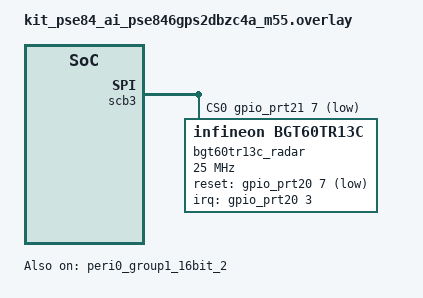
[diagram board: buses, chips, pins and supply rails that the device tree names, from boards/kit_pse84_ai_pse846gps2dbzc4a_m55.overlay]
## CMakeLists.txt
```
cmake_minimum_required(VERSION 3.20.0)

set(ZEPHYR_EXTRA_MODULES "${CMAKE_CURRENT_SOURCE_DIR}/../../modules/bgt60tr13c")
find_package(Zephyr REQUIRED HINTS $ENV{ZEPHYR_BASE})
project(pse84_ai_m55_udp_radar)

target_sources(app PRIVATE
    src/main.c
    src/scb3_clock_fix.c
    src/wifi_connect.c
)
```

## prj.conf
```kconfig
CONFIG_BGT60TR13C=y
CONFIG_SPI=y
CONFIG_GPIO=y
CONFIG_LOG=y
CONFIG_LOG_DEFAULT_LEVEL=3
# Room for ~10 back-to-back frame lines at the frame cadence without drops.
CONFIG_LOG_BUFFER_SIZE=4096

# Networking stack
CONFIG_NETWORKING=y
CONFIG_NET_IPV4=y
CONFIG_NET_IPV6=n
CONFIG_NET_UDP=y
CONFIG_NET_TCP=n
CONFIG_NET_DHCPV4=y
CONFIG_NET_SOCKETS=y

CONFIG_NET_PKT_RX_COUNT=10
CONFIG_NET_PKT_TX_COUNT=10
CONFIG_NET_BUF_RX_COUNT=20
CONFIG_NET_BUF_TX_COUNT=20
CONFIG_NET_MAX_CONTEXTS=10

CONFIG_MAIN_STACK_SIZE=4096
CONFIG_NET_TX_STACK_SIZE=1536
CONFIG_NET_RX_STACK_SIZE=1536

# Stack sizes for threads that drive Wi-Fi connect / DHCP.
# net_mgmt(NET_REQUEST_WIFI_CONNECT, ...) runs synchronously through the
# WHD stack and overflows the default 1 KB system-workqueue stack.
# Matches the board.conf that app 08 uses on M55.
CONFIG_SYSTEM_WORKQUEUE_STACK_SIZE=4096
CONFIG_NET_MGMT_EVENT_STACK_SIZE=4608
CONFIG_NET_TCP_WORKQ_STACK_SIZE=2048

# Net management events (needed for connect / dhcp callbacks)
CONFIG_NET_MGMT=y
CONFIG_NET_MGMT_EVENT=y
CONFIG_NET_MGMT_EVENT_INFO=y
CONFIG_NET_MGMT_EVENT_QUEUE_TIMEOUT=5000
CONFIG_NET_MGMT_EVENT_QUEUE_SIZE=16

# Wi-Fi (headless, no shell)
CONFIG_WIFI=y

# Random number generator (required by networking)
CONFIG_TEST_RANDOM_GENERATOR=y

# Heap for WHD / AIROC driver allocations - matches app 08
CONFIG_HEAP_MEM_POOL_SIZE=20480

# Silence noisy SPI/GPIO/clock debug logs
CONFIG_SPI_LOG_LEVEL_WRN=y
CONFIG_GPIO_LOG_LEVEL_WRN=y

# Clock control
CONFIG_CLOCK_CONTROL=y
CONFIG_CLOCK_CONTROL_LOG_LEVEL_WRN=y

# Ensure SPI init priority is correct
CONFIG_SPI_INIT_PRIORITY=70
```

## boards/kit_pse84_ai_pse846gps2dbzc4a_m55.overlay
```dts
/*
 * kit_pse84_ai board overlay for the CM55 radar streamer.
 *
 * Wires SCB3 (SPI master) to the BGT60TR13C on the shield header.
 * Pins match the CM33 variant (app 09) - SoC hardware is single-instance
 * and the M55 board DTS already enables gpio_prt21 for the SDHC block,
 * so we only need to enable gpio_prt20 here.
 *
 * References:
 *  - kit_pse84_ai_m55.dts (base):
 *      /home/ubuntu/zephyrproject/zephyr/boards/infineon/kit_pse84_ai/
 *      kit_pse84_ai_m55.dts
 *  - pse84.cm55.dtsi (per-core interrupt indices for SCB3, gpio_prt20/21):
 *      /home/ubuntu/zephyrproject/zephyr/dts/arm/infineon/edge/pse84/
 *      pse84.cm55.dtsi
 *  - infineon,spi binding:
 *      https://docs.zephyrproject.org/latest/build/dts/api/bindings/spi/
 *      infineon,spi.html
 */

/{
        aliases {
                radar-sensor = &bgt60tr13c_radar;
        };
};


spi3: &scb3 {
        compatible = "infineon,spi";
        status = "okay";
        #address-cells = <1>;
        #size-cells = <0>;

        clocks = <&peri0_group1_16bit_2>;

        pinctrl-0 = <&p21_6_scb3_spi_m_clk &p21_4_scb3_spi_m_miso &p21_5_scb3_spi_m_mosi>;
        pinctrl-names = "default";
        cs-gpios = <&gpio_prt21 7 GPIO_ACTIVE_LOW>;

        bgt60tr13c_radar: bgt60tr13c@0 {
                compatible = "infineon,bgt60tr13c";
                reg = <0>;
                spi-max-frequency = <25000000>;
                /* Datasheet-safe inter-word gap; SPI-default is
                 * half-of-SCK (~20 ns @ 25 MHz) which is under the
                 * chip's tSSCK setup requirement.
                 */
                spi-interframe-delay-ns = <200>;
                reset-gpios = <&gpio_prt20 7 GPIO_ACTIVE_LOW>;
                irq-gpios = <&gpio_prt20 3 GPIO_ACTIVE_HIGH>;
        };
};

&peri0_group1_16bit_2 {
        status = "okay";
        clock-div = <1>;
};

&p21_6_scb3_spi_m_clk {
        drive-strength = "full";
        drive-push-pull;
};

&p21_4_scb3_spi_m_miso {
        drive-strength = "full";
        input-enable;
};

&p21_5_scb3_spi_m_mosi {
        drive-strength = "full";
        drive-push-pull;
};

&p21_7_scb3_spi_m_select1 {
        drive-push-pull;
};

/* gpio_prt21 is enabled by the base M55 board DTS (SDHC block).
 * gpio_prt20 is not enabled by default - reset + IRQ pins need it.
 */
&gpio_prt20 {
        status = "okay";
};
```

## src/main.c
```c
/*
 * PSE84 CM55 UDP Radar Streamer - Phase 3.
 *
 * Single-thread pattern:
 *   wait_fifo_ready (blocks on GPIO IRQ semaphore)
 *   get_fifo_data   (SPI burst read + 12-bit unpack)
 *   build 272 B packet: 16 B header ('BGTR' | seq | timestamp_ns)
 *                       + 256 B samples (128 x u16 LE)
 *   zsock_send(sock, buf, 272, MSG_DONTWAIT)
 *
 * If the Wi-Fi link is down or the TX stack is congested, sendto
 * returns -EAGAIN / -ENOTCONN.  We increment a drop counter and keep
 * running - the radar loop never stalls on the network.
 */

#include <errno.h>
#include <string.h>

#include <zephyr/kernel.h>
#include <zephyr/logging/log.h>
#include <zephyr/net/socket.h>
#include <zephyr/sys/byteorder.h>

#include "bgt60tr13c.h"
#include "radar_config.h"
#include "wifi_connect.h"

LOG_MODULE_REGISTER(main, LOG_LEVEL_INF);

static const struct device *radar_sensor =
    DEVICE_DT_GET(DT_ALIAS(radar_sensor));

#define NUM_SAMPLES RADAR_NUM_SAMPLES_PER_FRAME	       /* 128 */
#define SAMPLES_BYTES (NUM_SAMPLES * sizeof(uint16_t)) /* 256 */
#define PACKET_HDR_BYTES 16
#define PACKET_BYTES (PACKET_HDR_BYTES + SAMPLES_BYTES) /* 272 */

/* Frame IRQ wait budget: chirp cadence is 5 ms; 50 ms tolerates ~10x slack. */
#define FIFO_IRQ_TIMEOUT K_MSEC(50)
#define WIFI_UP_TIMEOUT K_SECONDS(30)

/* Wire-format magic 'BGTR' little-endian.  Host script tests
 * packet[0..3] == "BGTR" to distinguish from other UDP flows.
 */
#define PACKET_MAGIC 0x52544742U /* 'R','T','G','B' in LE memory order */

/* Log a running summary every N frames (5 ms cadence -> ~5 s per 1000). */
#define SUMMARY_EVERY_N_FRAMES 1000U

static uint16_t samples[NUM_SAMPLES];
static uint8_t packet[PACKET_BYTES];

/**
 * Fill @p packet in place with the radar-stream wire format.
 * Header layout matches the parent implementation plan (item 7).
 */
static void build_packet(uint32_t seq, uint64_t timestamp_ns,
			 const uint16_t *buf, uint32_t count)
{
	sys_put_le32(PACKET_MAGIC, &packet[0]);
	sys_put_le32(seq, &packet[4]);
	sys_put_le64(timestamp_ns, &packet[8]);

	/* Samples: little-endian on the wire regardless of host word order. */
	for (uint32_t i = 0; i < count; i++) {
		sys_put_le16(buf[i], &packet[PACKET_HDR_BYTES + i * 2]);
	}
}

/**
 * Open one UDP socket connected to the destination.  Returns socket fd
 * on success, negative errno on failure.
 */
static int udp_socket_open(void)
{
	int sock = zsock_socket(AF_INET, SOCK_DGRAM, IPPROTO_UDP);

	if (sock < 0) {
		LOG_ERR("socket() failed: %d", errno);
		return -errno;
	}

	struct sockaddr_in dest = {
	    .sin_family = AF_INET,
	    .sin_port = htons(UDP_SERVER_PORT),
	};

	if (zsock_inet_pton(AF_INET, UDP_SERVER_IP, &dest.sin_addr) != 1) {
		LOG_ERR("Invalid UDP_SERVER_IP '%s'", UDP_SERVER_IP);
		zsock_close(sock);
		return -EINVAL;
	}

	/* connect() a UDP socket so subsequent send() can skip the address. */
	if (zsock_connect(sock, (struct sockaddr *)&dest, sizeof(dest)) < 0) {
		LOG_ERR("connect() failed: %d", errno);
		zsock_close(sock);
		return -errno;
	}

	LOG_INF("UDP socket -> %s:%u", UDP_SERVER_IP, UDP_SERVER_PORT);
	return sock;
}

int main(void)
{
	LOG_INF("Hello from project 10_pse84_ai_m55_udp_radar on board %s",
		CONFIG_BOARD_TARGET);

	if (!device_is_ready(radar_sensor)) {
		LOG_ERR("RADAR sensor device is not ready");
		return -ENODEV;
	}
	LOG_INF("Radar sensor ready (CHIP_ID verified during init)");

	int ret = wifi_connect_start();

	if (ret < 0) {
		LOG_ERR("wifi_connect_start failed: %d", ret);
		return ret;
	}

	if (wifi_connect_wait_up(WIFI_UP_TIMEOUT) < 0) {
		LOG_WRN("Wi-Fi not yet up after timeout - continuing (frames "
			"drop until reconnect succeeds in background)");
	}

	int sock = udp_socket_open();

	if (sock < 0) {
		return sock;
	}

	const struct bgt60tr13c_api *api = radar_sensor->api;

	LOG_INF("Configuring sensor (%u registers)...",
		(unsigned int)RADAR_REGS_LEN);
	ret = api->config(radar_sensor, radar_regs, RADAR_REGS_LEN);
	if (ret < 0) {
		LOG_ERR("config failed: %d", ret);
		return ret;
	}

	ret = api->set_fifo_limit(radar_sensor, NUM_SAMPLES);
	if (ret < 0) {
		LOG_ERR("set_fifo_limit failed: %d", ret);
		return ret;
	}

	ret = api->start_frame(radar_sensor, true);
	if (ret < 0) {
		LOG_ERR("start_frame failed: %d", ret);
		return ret;
	}
	LOG_INF("Streaming started - %u B packets to %s:%u", PACKET_BYTES,
		UDP_SERVER_IP, UDP_SERVER_PORT);

	uint32_t seq = 0;
	uint32_t sent_ok = 0;
	uint32_t dropped = 0;

	for (;;) {
		ret = api->wait_fifo_ready(radar_sensor, FIFO_IRQ_TIMEOUT);
		if (ret < 0) {
			LOG_ERR("wait_fifo_ready failed: %d", ret);
			break;
		}

		ret = api->get_fifo_data(radar_sensor, samples, NUM_SAMPLES);
		if (ret < 0) {
			LOG_ERR("get_fifo_data failed: %d", ret);
			break;
		}

		build_packet(seq, k_uptime_get() * 1000000ULL, samples,
			     NUM_SAMPLES);

		ret =
		    zsock_send(sock, packet, PACKET_BYTES, ZSOCK_MSG_DONTWAIT);
		if (ret == PACKET_BYTES) {
			sent_ok++;
		} else {
			dropped++;
		}

		if ((seq + 1U) % SUMMARY_EVERY_N_FRAMES == 0U) {
			LOG_INF("seq=%u sent=%u dropped=%u link=%s", seq + 1U,
				sent_ok, dropped,
				wifi_connect_is_up() ? "up" : "DOWN");
		}

		seq++;
	}

	api->start_frame(radar_sensor, false);
	zsock_close(sock);
	LOG_INF("Streaming stopped: seq=%u sent=%u dropped=%u", seq, sent_ok,
		dropped);
	return ret;
}
```

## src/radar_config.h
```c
/*
 * BGT60TR13C register configuration for this application.
 *
 * Generated by bgt60-configurator-cli (SDK v3.6.4) from:
 *   {
 *     "device_config": {
 *       "fmcw_single_shape": {
 *         "rx_antennas": [1],
 *         "tx_antennas": [1],
 *         "tx_power_level": 31,
 *         "if_gain_dB": 60,
 *         "lower_frequency_Hz": 61020098000,
 *         "upper_frequency_Hz": 61479902000,
 *         "num_chirps_per_frame": 1,
 *         "num_samples_per_chirp": 128,
 *         "chirp_repetition_time_s": 7e-05,
 *         "frame_repetition_time_s": 5e-3,
 *         "sample_rate_Hz": 2330000
 *       }
 *     }
 *   }
 *
 * Each entry is a packed SPI write command:
 *   [31:25] register address, [24] write bit, [23:0] data
 *
 * The array is application-owned and passed to the driver via
 * api->config().  Different applications may generate different
 * arrays from different configurator JSON inputs.
 */

#ifndef APP_RADAR_CONFIG_H_
#define APP_RADAR_CONFIG_H_

#include <stdint.h>
#include <zephyr/sys/util.h>

static const uint32_t radar_regs[] = {
    0x011e8270UL, 0x03088210UL, 0x09e967fdUL, 0x0b0805b4UL, 0x0d1027ffUL,
    0x0f010700UL, 0x11000000UL, 0x13000000UL, 0x15000000UL, 0x17000be0UL,
    0x19000000UL, 0x1b000000UL, 0x1d000000UL, 0x1f000b60UL, 0x21103c51UL,
    0x231ff41fUL, 0x25006f7bUL, 0x2d000490UL, 0x3b000480UL, 0x49000480UL,
    0x57000480UL, 0x5911be0eUL, 0x5b44c40aUL, 0x5d000000UL, 0x5f787e1eUL,
    0x61f5208aUL, 0x630000a4UL, 0x65000252UL, 0x67000080UL, 0x69000000UL,
    0x6b000000UL, 0x6d000000UL, 0x6f093910UL, 0x7f000100UL, 0x8f000100UL,
    0x9f000100UL, 0xad000000UL, 0xb7000000UL,
};

#define RADAR_REGS_LEN ARRAY_SIZE(radar_regs)

/* 1 RX antenna x 1 chirp x 128 samples = 128 per frame. */
#define RADAR_NUM_SAMPLES_PER_FRAME 128

#endif /* APP_RADAR_CONFIG_H_ */
```

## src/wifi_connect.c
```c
#include "wifi_connect.h"
#include "wifi_credentials.h"

#include <zephyr/kernel.h>
#include <zephyr/net/net_if.h>
#include <zephyr/net/net_mgmt.h>
#include <zephyr/net/wifi.h>
#include <zephyr/net/wifi_mgmt.h>
#include <zephyr/logging/log.h>

LOG_MODULE_REGISTER(wifi_conn, LOG_LEVEL_INF);

#define WIFI_EVENTS                                                            \
	(NET_EVENT_WIFI_CONNECT_RESULT | NET_EVENT_WIFI_DISCONNECT_RESULT)
#define IPV4_EVENTS (NET_EVENT_IPV4_ADDR_ADD | NET_EVENT_IPV4_ADDR_DEL)

#define RECONNECT_INITIAL_MS 5000U
#define RECONNECT_MAX_MS 30000U

static struct k_sem link_up_sem;
static struct net_mgmt_event_callback wifi_cb;
static struct net_mgmt_event_callback ipv4_cb;
static atomic_t link_up = ATOMIC_INIT(0);

static uint32_t backoff_ms = RECONNECT_INITIAL_MS;

static void connect_work_fn(struct k_work *work);
static K_WORK_DELAYABLE_DEFINE(connect_work, connect_work_fn);

static struct net_if *get_wifi_iface(void)
{
	/* net_if_get_first_wifi() only exists since Zephyr v3.6+; if it
	 * disappears from your tree fall back to net_if_get_default().
	 */
	struct net_if *iface = net_if_get_first_wifi();

	return iface ? iface : net_if_get_default();
}

static void connect_work_fn(struct k_work *work)
{
	ARG_UNUSED(work);

	struct net_if *iface = get_wifi_iface();

	if (!iface) {
		LOG_ERR("No Wi-Fi interface, retrying in %u ms", backoff_ms);
		k_work_schedule(&connect_work, K_MSEC(backoff_ms));
		return;
	}

	struct wifi_connect_req_params params = {
	    .ssid = (const uint8_t *)WIFI_SSID,
	    .ssid_length = strlen(WIFI_SSID),
	    .psk = (const uint8_t *)WIFI_PSK,
	    .psk_length = strlen(WIFI_PSK),
	    .security = WIFI_SECURITY_TYPE_PSK,
	    .channel = WIFI_CHANNEL_ANY,
	    .mfp = WIFI_MFP_OPTIONAL,
	    .timeout = SYS_FOREVER_MS,
	};

	LOG_INF("Connecting to SSID '%s'...", WIFI_SSID);

	int ret =
	    net_mgmt(NET_REQUEST_WIFI_CONNECT, iface, &params, sizeof(params));
	if (ret < 0) {
		LOG_WRN("net_mgmt CONNECT rejected (%d), retry in %u ms", ret,
			backoff_ms);
		k_work_schedule(&connect_work, K_MSEC(backoff_ms));
		backoff_ms = MIN(backoff_ms * 2U, RECONNECT_MAX_MS);
	}
}

static void handle_wifi_result(struct net_mgmt_event_callback *cb)
{
	const struct wifi_status *status = (const struct wifi_status *)cb->info;

	if (status && status->status) {
		LOG_WRN("Wi-Fi connect failed (status=%d), retry in %u ms",
			status->status, backoff_ms);
		k_work_schedule(&connect_work, K_MSEC(backoff_ms));
		backoff_ms = MIN(backoff_ms * 2U, RECONNECT_MAX_MS);
		return;
	}

	LOG_INF("Wi-Fi associated, waiting for DHCP...");
	backoff_ms = RECONNECT_INITIAL_MS;
}

static void handle_wifi_disconnect(void)
{
	atomic_clear(&link_up);
	k_sem_reset(&link_up_sem);
	LOG_WRN("Wi-Fi disconnected, scheduling reconnect");
	k_work_schedule(&connect_work, K_MSEC(backoff_ms));
}

static void wifi_mgmt_event_handler(struct net_mgmt_event_callback *cb,
				    uint64_t mgmt_event, struct net_if *iface)
{
	ARG_UNUSED(iface);

	switch (mgmt_event) {
	case NET_EVENT_WIFI_CONNECT_RESULT:
		handle_wifi_result(cb);
		break;
	case NET_EVENT_WIFI_DISCONNECT_RESULT:
		handle_wifi_disconnect();
		break;
	default:
		break;
	}
}

static void ipv4_mgmt_event_handler(struct net_mgmt_event_callback *cb,
				    uint64_t mgmt_event, struct net_if *iface)
{
	ARG_UNUSED(cb);

	if (mgmt_event == NET_EVENT_IPV4_ADDR_ADD) {
		char buf[NET_IPV4_ADDR_LEN];
		struct net_if_ipv4 *ipv4 = iface->config.ip.ipv4;

		if (ipv4) {
			net_addr_ntop(AF_INET,
				      &ipv4->unicast[0].ipv4.address.in_addr,
				      buf, sizeof(buf));
			LOG_INF("IPv4 bound: %s", buf);
		} else {
			LOG_INF("IPv4 bound");
		}

		atomic_set(&link_up, 1);
		k_sem_give(&link_up_sem);
	} else if (mgmt_event == NET_EVENT_IPV4_ADDR_DEL) {
		atomic_clear(&link_up);
		k_sem_reset(&link_up_sem);
		LOG_WRN("IPv4 address lost");
	}
}

int wifi_connect_start(void)
{
	k_sem_init(&link_up_sem, 0, 1);

	net_mgmt_init_event_callback(&wifi_cb, wifi_mgmt_event_handler,
				     WIFI_EVENTS);
	net_mgmt_add_event_callback(&wifi_cb);

	net_mgmt_init_event_callback(&ipv4_cb, ipv4_mgmt_event_handler,
				     IPV4_EVENTS);
	net_mgmt_add_event_callback(&ipv4_cb);

	k_work_schedule(&connect_work, K_NO_WAIT);
	return 0;
}

int wifi_connect_wait_up(k_timeout_t timeout)
{
	if (atomic_get(&link_up)) {
		return 0;
	}
	return k_sem_take(&link_up_sem, timeout) == 0 ? 0 : -EAGAIN;
}

bool wifi_connect_is_up(void) { return atomic_get(&link_up) != 0; }
```

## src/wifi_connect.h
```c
/*
 * Wi-Fi bring-up + UDP destination for app 10.
 *
 * Programmatic connect via net_mgmt.  No shell.  Auto-reconnects
 * silently on link loss - the radar loop keeps running and drops
 * frames via sendto(MSG_DONTWAIT) while the link is down.
 */

#ifndef APP_WIFI_CONNECT_H_
#define APP_WIFI_CONNECT_H_

#include <stdbool.h>
#include <zephyr/kernel.h>

/* UDP destination for the radar frame stream.  Host runs
 * apps/08_pse84_ai_m55_udp/host/udp_server.py (or the app-10 fork of it).
 * Edit for your capture host.
 */
#define UDP_SERVER_IP "192.168.178.22"
#define UDP_SERVER_PORT 5005

/**
 * Register net_mgmt callbacks and schedule the first connect attempt.
 * Non-blocking; returns 0 on successful registration, negative errno
 * on setup failure (e.g. no Wi-Fi interface).
 */
int wifi_connect_start(void);

/**
 * Block until the interface is up AND DHCP has bound an IPv4 address.
 * Returns 0 on success, -EAGAIN on timeout.
 */
int wifi_connect_wait_up(k_timeout_t timeout);

/**
 * Non-blocking poll: is the link currently up with an IPv4 address?
 * Safe from any context including the radar acquisition thread.
 */
bool wifi_connect_is_up(void);

#endif /* APP_WIFI_CONNECT_H_ */
```
